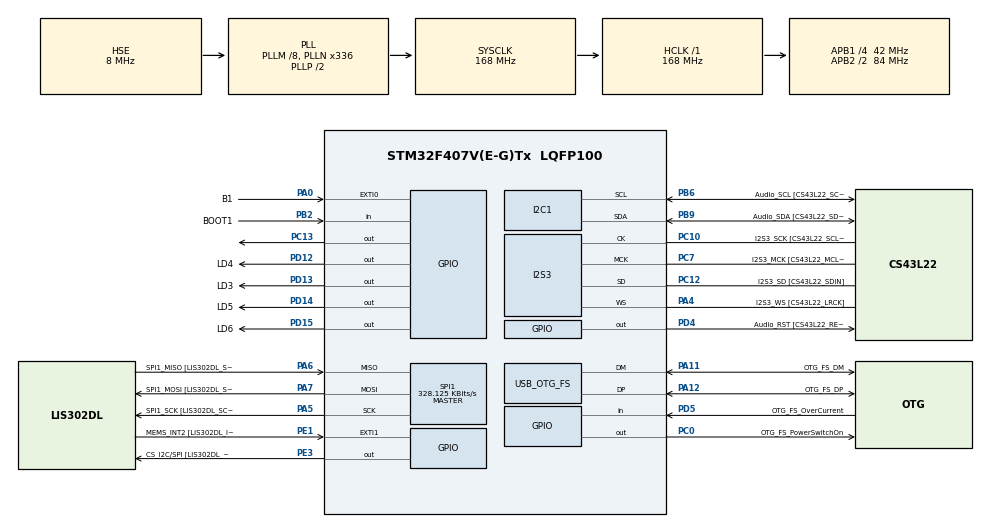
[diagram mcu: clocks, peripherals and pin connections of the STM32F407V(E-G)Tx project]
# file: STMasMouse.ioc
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I2S3.AudioFreq-Half_Duplex_Master=I2S_AUDIOFREQ_96K
I2S3.ErrorAudioFreq=-2.34 %
I2S3.ErrorAudioFreq-Half_Duplex_Master=0.8 %
I2S3.FullDuplexMode=I2S_FULLDUPLEXMODE_DISABLE
I2S3.Instance=SPI$Index
I2S3.RealAudioFreq=93.75 KHz
I2S3.RealAudioFreq-Half_Duplex_Master=96.774 KHz
I2S3.VirtualMode=I2S_MODE_MASTER
Mcu.Family=STM32F4
Mcu.Name=STM32F407V(E-G)Tx
Mcu.Package=LQFP100
NVIC.EXTI0_IRQn=true\:0\:0\:false\:false\:true\:true\:true\:true
NVIC.OTG_FS_IRQn=true\:0\:0\:false\:false\:true\:true\:true\:true
NVIC.PriorityGroup=NVIC_PRIORITYGROUP_0
PA0-WKUP.GPIO_Label=B1
PA0-WKUP.GPIO_ModeDefaultEXTI=GPIO_MODE_IT_RISING
PA0-WKUP.GPIO_PuPd=GPIO_PULLDOWN
PA0-WKUP.Signal=GPXTI0
PA10.GPIO_Label=OTG_FS_ID
PA10.GPIO_Mode=GPIO_MODE_AF_PP
PA10.GPIO_PuPd=GPIO_NOPULL
PA10.GPIO_Speed=GPIO_SPEED_FREQ_LOW
PA10.Signal=USB_OTG_FS_ID
PA11.GPIO_Label=OTG_FS_DM
PA11.GPIO_Mode=GPIO_MODE_AF_PP
PA11.GPIO_PuPd=GPIO_NOPULL
PA11.GPIO_Speed=GPIO_SPEED_FREQ_LOW
PA11.Mode=Device_Only
PA11.Signal=USB_OTG_FS_DM
PA12.GPIO_Label=OTG_FS_DP
PA12.GPIO_Mode=GPIO_MODE_AF_PP
PA12.GPIO_PuPd=GPIO_NOPULL
PA12.GPIO_Speed=GPIO_SPEED_FREQ_LOW
PA12.Mode=Device_Only
PA12.Signal=USB_OTG_FS_DP
PA13.GPIO_Label=SWDIO
PA13.Mode=Serial_Wire
PA13.Signal=SYS_JTMS-SWDIO
PA14.GPIO_Label=SWCLK
PA14.Mode=Serial_Wire
PA14.Signal=SYS_JTCK-SWCLK
PA4.GPIO_Label=I2S3_WS [CS43L22_LRCK]
PA4.GPIO_Mode=GPIO_MODE_AF_PP
PA4.GPIO_PuPd=GPIO_NOPULL
PA4.GPIO_Speed=GPIO_SPEED_FREQ_LOW
PA4.Mode=Half_Duplex_Master
PA4.Signal=I2S3_WS
PA5.GPIO_Label=SPI1_SCK [LIS302DL_SCL/SPC]
PA5.GPIO_Mode=GPIO_MODE_AF_PP
PA5.GPIO_PuPd=GPIO_NOPULL
PA5.GPIO_Speed=GPIO_SPEED_FREQ_LOW
PA5.Mode=Full_Duplex_Master
PA5.Signal=SPI1_SCK
PA6.GPIO_Label=SPI1_MISO [LIS302DL_SDO]
PA6.GPIO_Mode=GPIO_MODE_AF_PP
PA6.GPIO_PuPd=GPIO_NOPULL
PA6.GPIO_Speed=GPIO_SPEED_FREQ_LOW
PA6.Mode=Full_Duplex_Master
PA6.Signal=SPI1_MISO
PA7.GPIO_Label=SPI1_MOSI [LIS302DL_SDA/SDI/SDO]
PA7.GPIO_Mode=GPIO_MODE_AF_PP
PA7.GPIO_PuPd=GPIO_NOPULL
PA7.GPIO_Speed=GPIO_SPEED_FREQ_LOW
PA7.Mode=Full_Duplex_Master
PA7.Signal=SPI1_MOSI
PA9.GPIO_Label=VBUS_FS
PA9.GPIO_Mode=GPIO_MODE_INPUT
PA9.GPIO_PuPd=GPIO_NOPULL
PA9.Signal=USB_OTG_FS_VBUS
PB10.GPIO_Label=CLK_IN [MP45DT02_CLK]
PB10.GPIO_Mode=GPIO_MODE_AF_PP
PB10.GPIO_PuPd=GPIO_NOPULL
PB10.GPIO_Speed=GPIO_SPEED_FREQ_LOW
PB10.Signal=I2S2_CK
PB2.GPIO_Label=BOOT1
PB2.GPIO_Mode=GPIO_MODE_INPUT
PB2.GPIO_PuPd=GPIO_NOPULL
PB2.Signal=GPIO_Input
PB3.GPIO_Label=SWO
PB3.Signal=SYS_JTDO-SWO
PB6.GPIO_Label=Audio_SCL [CS43L22_SCL]
PB6.GPIO_Mode=GPIO_MODE_AF_OD
PB6.GPIO_Pu=GPIO_PULLUP
PB6.GPIO_PuPd=GPIO_NOPULL
PB6.GPIO_Speed=GPIO_SPEED_FREQ_LOW
PB6.Mode=I2C
PB6.Signal=I2C1_SCL
PB9.GPIO_Label=Audio_SDA [CS43L22_SDA]
PB9.GPIO_Mode=GPIO_MODE_AF_OD
PB9.GPIO_Pu=GPIO_PULLUP
PB9.GPIO_PuPd=GPIO_NOPULL
PB9.GPIO_Speed=GPIO_SPEED_FREQ_LOW
PB9.Mode=I2C
PB9.Signal=I2C1_SDA
PC0.GPIO_Label=OTG_FS_PowerSwitchOn
PC0.GPIO_PuPd=GPIO_NOPULL
PC0.GPIO_Speed=GPIO_SPEED_FREQ_LOW
PC0.PinState=GPIO_PIN_SET
PC0.Signal=GPIO_Output
PC10.GPIO_Label=I2S3_SCK [CS43L22_SCLK]
PC10.GPIO_Mode=GPIO_MODE_AF_PP
PC10.GPIO_PuPd=GPIO_NOPULL
PC10.GPIO_Speed=GPIO_SPEED_FREQ_LOW
PC10.Mode=Half_Duplex_Master
PC10.Signal=I2S3_CK
PC12.GPIO_Label=I2S3_SD [CS43L22_SDIN]
PC12.GPIO_Mode=GPIO_MODE_AF_PP
PC12.GPIO_PuPd=GPIO_NOPULL
PC12.GPIO_Speed=GPIO_SPEED_FREQ_LOW
PC12.Mode=Half_Duplex_Master
PC12.Signal=I2S3_SD
PC13-ANTI_TAMP.PinState=GPIO_PIN_SET
PC13-ANTI_TAMP.Signal=GPIO_Output
PC14-OSC32_IN.GPIO_Label=PC14-OSC32_IN
PC14-OSC32_IN.Mode=LSE-External-Oscillator
PC14-OSC32_IN.Signal=RCC_OSC32_IN
PC15-OSC32_OUT.GPIO_Label=PC15-OSC32_OUT
PC15-OSC32_OUT.Mode=LSE-External-Oscillator
PC15-OSC32_OUT.Signal=RCC_OSC32_OUT
PC3.GPIO_Label=PDM_OUT [MP45DT02_DOUT]
PC3.GPIO_Mode=GPIO_MODE_AF_PP
PC3.GPIO_PuPd=GPIO_NOPULL
PC3.GPIO_Speed=GPIO_SPEED_FREQ_LOW
PC3.Signal=I2S2_SD
PC7.GPIO_Label=I2S3_MCK [CS43L22_MCLK]
PC7.GPIO_Mode=GPIO_MODE_AF_PP
PC7.GPIO_PuPd=GPIO_NOPULL
PC7.GPIO_Speed=GPIO_SPEED_FREQ_LOW
PC7.Mode=Master_Clock_Activated
PC7.Signal=I2S3_MCK
PD12.GPIO_Label=LD4
PD12.GPIO_PuPd=GPIO_NOPULL
PD12.GPIO_Speed=GPIO_SPEED_FREQ_LOW
PD12.Signal=GPIO_Output
PD13.GPIO_Label=LD3
PD13.GPIO_PuPd=GPIO_NOPULL
PD13.GPIO_Speed=GPIO_SPEED_FREQ_LOW
PD13.Signal=GPIO_Output
PD14.GPIO_Label=LD5
PD14.GPIO_PuPd=GPIO_NOPULL
PD14.GPIO_Speed=GPIO_SPEED_FREQ_LOW
PD14.Signal=GPIO_Output
PD15.GPIO_Label=LD6
PD15.GPIO_PuPd=GPIO_NOPULL
PD15.GPIO_Speed=GPIO_SPEED_FREQ_LOW
PD15.Signal=GPIO_Output
PD4.GPIO_Label=Audio_RST [CS43L22_RESET]
PD4.GPIO_PuPd=GPIO_NOPULL
PD4.GPIO_Speed=GPIO_SPEED_FREQ_LOW
PD4.Signal=GPIO_Output
PD5.GPIO_Label=OTG_FS_OverCurrent
PD5.GPIO_Mode=GPIO_MODE_INPUT
PD5.GPIO_PuPd=GPIO_NOPULL
PD5.Signal=GPIO_Input
PE1.GPIO_Label=MEMS_INT2 [LIS302DL_INT2]
PE1.GPIO_ModeDefaultEXTI=GPIO_MODE_EVT_RISING
PE1.GPIO_PuPd=GPIO_NOPULL
PE1.Signal=GPXTI1
PE3.GPIO_Label=CS_I2C/SPI [LIS302DL_CS_I2C/SPI]
PE3.GPIO_PuPd=GPIO_NOPULL
PE3.GPIO_Speed=GPIO_SPEED_FREQ_LOW
PE3.Signal=GPIO_Output
PH0-OSC_IN.GPIO_Label=PH0-OSC_IN
PH0-OSC_IN.Mode=HSE-External-Oscillator
PH0-OSC_IN.Signal=RCC_OSC_IN
PH1-OSC_OUT.GPIO_Label=PH1-OSC_OUT
PH1-OSC_OUT.Mode=HSE-External-Oscillator
PH1-OSC_OUT.Signal=RCC_OSC_OUT
ProjectManager.HeapSize=0x200
ProjectManager.StackSize=0x400
ProjectManager.TargetToolchain=STM32CubeIDE
RCC.48MHZClocksFreq_Value=48000000
RCC.AHBFreq_Value=168000000
RCC.APB1CLKDivider=RCC_HCLK_DIV4
RCC.APB1Freq_Value=42000000
RCC.APB1TimFreq_Value=84000000
RCC.APB2CLKDivider=RCC_HCLK_DIV2
RCC.APB2Freq_Value=84000000
RCC.APB2TimFreq_Value=168000000
RCC.CortexFreq_Value=168000000
RCC.HCLKFreq_Value=168000000
RCC.HSE_VALUE=8000000
RCC.HSI_VALUE=16000000
RCC.PLLM=8
RCC.PLLN=336
RCC.PLLQ=7
RCC.SYSCLKFreq_VALUE=168000000
RCC.SYSCLKSource=RCC_SYSCLKSOURCE_PLLCLK
RCC.VCOOutputFreq_Value=336000000
SPI1.BaudRatePrescaler=SPI_BAUDRATEPRESCALER_256
SPI1.BaudRatePrescaler-Full_Duplex_Master=SPI_BAUDRATEPRESCALER_2
SPI1.CalculateBaudRate=328.125 KBits/s
SPI1.CalculateBaudRate-Full_Duplex_Master=42.0 MBits/s
SPI1.Direction=SPI_DIRECTION_2LINES
SPI1.Mode=SPI_MODE_MASTER
SPI1.Mode-Full_Duplex_Master=SPI_MODE_MASTER
SPI1.VirtualType=VM_MASTER
USB_DEVICE.CLASS_NAME_FS=HID
USB_DEVICE.PRODUCT_STRING_HID_FS=STM32F407G MISKA
USB_DEVICE.VirtualMode-HID_FS=Hid
USB_DEVICE.VirtualModeFS=Hid_FS
USB_OTG_FS.VirtualMode=Device_Only
VP_USB_DEVICE_VS_USB_DEVICE_HID_FS.Mode=HID_FS
board=STM32F407G-DISC1

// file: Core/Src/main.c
/* USER CODE BEGIN Header */
/**
  ******************************************************************************
  * @file           : main.c
  * @brief          : Main program body
  ******************************************************************************
  * @attention
  *
  * Copyright (c) 2024 STMicroelectronics.
  * All rights reserved.
  *
  * This software is licensed under terms that can be found in the LICENSE file
  * in the root directory of this software component.
  * If no LICENSE file comes with this software, it is provided AS-IS.
  *
  ******************************************************************************
  */
/* USER CODE END Header */
#include "main.h"
#include "i2c.h"
#include "i2s.h"
#include "spi.h"
#include "usb_device.h"
#include "gpio.h"

/* USER CODE BEGIN Includes */
#include "usbd_hid.h"
/* USER CODE END Includes */

/* USER CODE BEGIN PV */
#define BUFSIZE 256
char	SendBuffer[BUFSIZE];
int	Counter;
int KeyState=0;

// Global variables
uint8_t indata[2];
uint8_t outdata[2] = {0,0};
uint8_t lis_id;
int8_t AccelX;
int8_t AccelY;
int8_t AccelZ;
HAL_StatusTypeDef SPIStatus;

/* USER CODE END PV */

void SystemClock_Config(void);

/* USER CODE BEGIN 0 */

int16_t min_xval = 128;
int16_t max_xval = -128;
int16_t min_yval = 128;
int16_t max_yval = -128;

int16_t newxval = 0;
int16_t newyval = 0;

uint8_t button_flag = 0;

extern USBD_HandleTypeDef hUsbDeviceFS;

typedef struct
{
	uint8_t button;
	int8_t mouse_x;
	int8_t mouse_y;
	int8_t wheel;
} mouseHID;

mouseHID mousehid = {0,0,0,0};

void Calibrate (void) //Kalibravimas
{
	for (int i=0; i<50; i++)
	{

		outdata[0] = 0x29 | 0x80;
		HAL_GPIO_WritePin(GPIOE, GPIO_PIN_3, GPIO_PIN_RESET);
		HAL_SPI_TransmitReceive(&hspi1, &outdata, &indata, 2, HAL_MAX_DELAY);
		AccelX = indata[1];

		outdata[0] = 0x2B | 0x80;
		HAL_SPI_TransmitReceive(&hspi1, &outdata, &indata, 2, HAL_MAX_DELAY);
		AccelY = indata[1];

		outdata[0] = 0x2D | 0x80 ;
		HAL_SPI_TransmitReceive(&hspi1, &outdata, &indata, 2, HAL_MAX_DELAY);
		HAL_GPIO_WritePin(GPIOE, GPIO_PIN_3, GPIO_PIN_SET);
		AccelZ = indata[1];

		min_xval = MIN(min_xval, AccelX);
		max_xval = MAX(max_xval, AccelX);
		min_yval = MIN(min_yval, AccelY);
		max_yval = MAX(max_yval, AccelY);
		HAL_Delay (100);
	}

	// Uzdega melyna kai kalibravimas atliktas
	HAL_GPIO_WritePin(GPIOD, GPIO_PIN_15, 1);
}

// Skaitymas kada paspaustas mygtukas

void HAL_GPIO_EXTI_Callback(uint16_t GPIO_Pin)
{
	if (GPIO_Pin == GPIO_PIN_0)
	{
		button_flag = 1;
	}
}

/* USER CODE END 0 */
int main(void)
{
  HAL_Init();
  SystemClock_Config();
  MX_GPIO_Init();
  MX_I2C1_Init();
  MX_I2S3_Init();
  MX_SPI1_Init();
  MX_USB_DEVICE_Init();
  /* USER CODE BEGIN 2 */

  HAL_GPIO_WritePin(GPIOE, GPIO_PIN_3, GPIO_PIN_RESET);
  outdata[0] = 0x0f | 0x80;
  HAL_SPI_TransmitReceive(&hspi1, &outdata, &indata, 2, HAL_MAX_DELAY);
  lis_id = indata[1];
  HAL_GPIO_WritePin(GPIOE, GPIO_PIN_3, GPIO_PIN_SET);
  HAL_Delay(500);

  HAL_GPIO_WritePin(GPIOE, GPIO_PIN_3, GPIO_PIN_RESET);
  outdata[0] = 0x20;
  outdata[1] = 0x47;
  HAL_SPI_TransmitReceive(&hspi1, &outdata, &indata, 2, HAL_MAX_DELAY);
  HAL_GPIO_WritePin(GPIOE, GPIO_PIN_3, GPIO_PIN_SET);
  HAL_Delay(500);
  outdata[1] = 0x00;

  Calibrate();
  /* USER CODE END 2 */
  /* USER CODE BEGIN WHILE */
  while (1)
  {
	  outdata[0] = 0x29 | 0x80;
	  HAL_GPIO_WritePin(GPIOE, GPIO_PIN_3, GPIO_PIN_RESET);
	  HAL_SPI_TransmitReceive(&hspi1, &outdata, &indata, 2, HAL_MAX_DELAY);
	  AccelX = indata[1];

	  outdata[0] = 0x2B | 0x80;
	  HAL_SPI_TransmitReceive(&hspi1, &outdata, &indata, 2, HAL_MAX_DELAY);
	  AccelY = indata[1];

	  outdata[0] = 0x2D | 0x80;
	  HAL_SPI_TransmitReceive(&hspi1, &outdata, &indata, 2, HAL_MAX_DELAY);
	  HAL_GPIO_WritePin(GPIOE, GPIO_PIN_3, GPIO_PIN_SET);
	  AccelZ = indata[1];

	 KeyState = HAL_GPIO_ReadPin(GPIOA, GPIO_PIN_0);

	 if (AccelX < min_xval)
	 	 {
	 	   newxval = AccelX - min_xval;
	 	 }

	 	else if (AccelX > max_xval)
	 	 {
	 	   newxval = AccelX - max_xval;
	 	 }

	 	if (AccelY < min_yval)
	 	{
	 	  newyval = AccelY - min_yval;
	 	}

	 	else if (AccelY > max_yval)
	 	{
	 	 newyval = AccelY - max_yval;
	 	}

	 	if ((newxval > 10) || (newxval <-10))
	 	{
	 	 mousehid.mouse_y = (newxval/10);
	 	}
	 	else mousehid.mouse_y = 0;

	 	if ((newyval > 10) || (newyval <-10))
	 	{
	 	 mousehid.mouse_x= (newyval)/10;
	 	}
	 	else mousehid.mouse_x = 0;

	 	if (button_flag==1)
	 	{
	 	 mousehid.button = 1; //left click = 1; right click = 2
	 	 USBD_HID_SendReport(&hUsbDeviceFS, &mousehid, sizeof (mousehid));
	 	 HAL_Delay (50);
	 	 mousehid.button = 0;
	 	 USBD_HID_SendReport(&hUsbDeviceFS,&mousehid, sizeof (mousehid));
	 	 button_flag =0;
	 	}

	 	USBD_HID_SendReport(&hUsbDeviceFS,&mousehid, sizeof (mousehid));
	 	HAL_Delay(10);
	   }
    /* USER CODE END WHILE */

}

void SystemClock_Config(void)
{
  RCC_OscInitTypeDef RCC_OscInitStruct = {0};
  RCC_ClkInitTypeDef RCC_ClkInitStruct = {0};

  /** Configure the main internal regulator output voltage
  */
  __HAL_RCC_PWR_CLK_ENABLE();
  __HAL_PWR_VOLTAGESCALING_CONFIG(PWR_REGULATOR_VOLTAGE_SCALE1);

  /** Initializes the RCC Oscillators according to the specified parameters
  * in the RCC_OscInitTypeDef structure.
  */
  RCC_OscInitStruct.OscillatorType = RCC_OSCILLATORTYPE_HSE;
  RCC_OscInitStruct.HSEState = RCC_HSE_ON;
  RCC_OscInitStruct.PLL.PLLState = RCC_PLL_ON;
  RCC_OscInitStruct.PLL.PLLSource = RCC_PLLSOURCE_HSE;
  RCC_OscInitStruct.PLL.PLLM = 8;
  RCC_OscInitStruct.PLL.PLLN = 336;
  RCC_OscInitStruct.PLL.PLLP = RCC_PLLP_DIV2;
  RCC_OscInitStruct.PLL.PLLQ = 7;
  if (HAL_RCC_OscConfig(&RCC_OscInitStruct) != HAL_OK)
  {
    Error_Handler();
  }

  /** Initializes the CPU, AHB and APB buses clocks
  */
  RCC_ClkInitStruct.ClockType = RCC_CLOCKTYPE_HCLK|RCC_CLOCKTYPE_SYSCLK
                              |RCC_CLOCKTYPE_PCLK1|RCC_CLOCKTYPE_PCLK2;
  RCC_ClkInitStruct.SYSCLKSource = RCC_SYSCLKSOURCE_PLLCLK;
  RCC_ClkInitStruct.AHBCLKDivider = RCC_SYSCLK_DIV1;
  RCC_ClkInitStruct.APB1CLKDivider = RCC_HCLK_DIV4;
  RCC_ClkInitStruct.APB2CLKDivider = RCC_HCLK_DIV2;

  if (HAL_RCC_ClockConfig(&RCC_ClkInitStruct, FLASH_LATENCY_5) != HAL_OK)
  {
    Error_Handler();
  }
}

void Error_Handler(void)
{
  __disable_irq();
  while (1)
  {
  }
}
